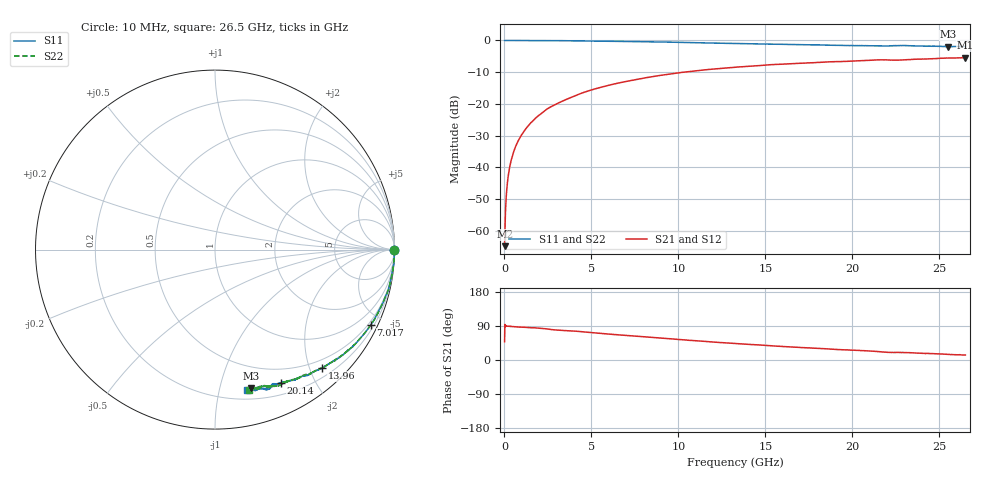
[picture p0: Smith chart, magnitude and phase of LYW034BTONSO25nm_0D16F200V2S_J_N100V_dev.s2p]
!Keysight Technologies,N5222B,MY61253708,A.15.00.15
!Date: Wednesday, June 19, 2024 09:37:59
!Correction: S11(C  2-Port  )
!S21(C  2-Port  )
!S12(C  2-Port  )
!S22(C  2-Port  )
!S2P File: Measurements: S11, S21, S12, S22:
# Hz S  RI  R 50
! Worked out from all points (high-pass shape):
!   2651 points, 10 MHz to 26.5 GHz, reference 50 ohm
!   highest |S21| = -5.39 dB at 26.5 GHz (marker M1); lowest = -64.9 dB at 20 MHz (marker M2)
!   |S21| within 3 dB of the highest: 13.4121 GHz to 13.42404 GHz (11.94 MHz wide, 0.089 % of centre); 13.43 GHz to end of sweep
!   lowest |S11| = -2.0 dB at 25.5 GHz (marker M3), VSWR 8.80, Z = 14.8 - j62.4 ohm
!   |S11| at or under -10 dB: nowhere
!   |S22| runs from -1.9 to 0.0 dB; largest |S21 - S12| = 0.0067
!   S11 on the Smith chart (normalised r, x): 10 MHz: open; 7.017 GHz: 0.37, -4.33; 13.96 GHz: 0.35, -2.21; 20.14 GHz: 0.33, -1.56; 26.5 GHz: 0.27, -1.22
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1e7  0.9987 -0.00234  0.000436 0.000487  8.27e-05 0.000353  0.9985 -0.0014
1.999623e7  0.9989 -0.00252  6.04e-05 0.000566  0.000141 0.000543  0.9988 -0.00265
8.996981e7  0.9999 -0.00588  -1.52e-05 0.00302  5.08e-06 0.00301  0.9996 -0.00553
1.599434e8  0.9999 -0.0115  6.61e-05 0.00534  7e-05 0.00534  0.9996 -0.0108
2.099245e8  0.9997 -0.0143  9.58e-05 0.00697  0.000108 0.00703  0.9994 -0.0137
2.699019e8  0.9997 -0.0185  0.000184 0.00897  0.000136 0.00905  0.9998 -0.0178
3.698642e8  0.9996 -0.0255  0.000284 0.0123  0.00034 0.0124  0.9993 -0.0248
5.098113e8  0.999 -0.0343  0.000589 0.0169  0.000552 0.017  0.9993 -0.0338
8.696755e8  0.998 -0.0581  0.00161 0.0286  0.00163 0.0289  0.9973 -0.0578
1.479445e9  0.9904 -0.0997  0.00395 0.049  0.004 0.0494  0.9933 -0.0965
2.349117e9  0.9815 -0.1533  0.0103 0.0786  0.0105 0.0793  0.9827 -0.1539
3.198796e9  0.9706 -0.2076  0.0212 0.1041  0.0215 0.1048  0.97 -0.2076
4.428332e9  0.942 -0.2813  0.0388 0.142  0.0393 0.143  0.9432 -0.2792
7.017355e9  0.8671 -0.4198  0.0968 0.2047  0.0981 0.2055  0.8682 -0.4203
8.846664e9  0.8015 -0.5028  0.146 0.2369  0.1477 0.2377  0.8019 -0.5021
1.3255e10  0.625 -0.6424  0.2735 0.2606  0.2762 0.2603  0.6271 -0.6414
1.396473e10  0.5979 -0.6588  0.2926 0.258  0.2944 0.2587  0.5992 -0.6576
1.767333e10  0.4527 -0.7209  0.3795 0.2323  0.3833 0.2304  0.4613 -0.7185
2.01424e10  0.3695 -0.7432  0.4283 0.2064  0.4317 0.2028  0.3822 -0.7448
2.209166e10  0.3177 -0.7531  0.4617 0.1699  0.4637 0.1666  0.31 -0.7587
2.550038e10  0.1991 -0.7706  0.5105 0.1333  0.512 0.1325  0.218 -0.7727
2.65e10  0.1799 -0.7848  0.5239 0.1222  0.5236 0.1178  0.1917 -0.7823
